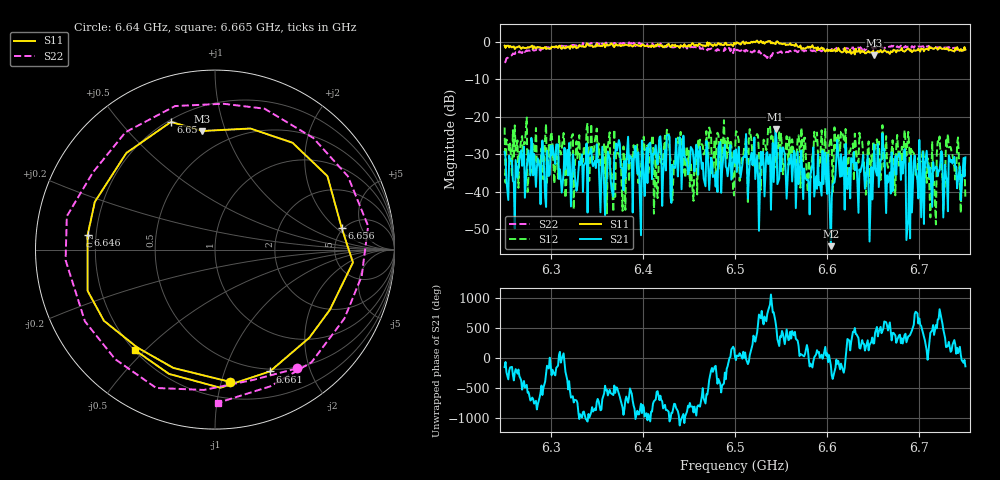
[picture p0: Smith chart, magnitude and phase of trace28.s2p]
# Hz S RI R 50
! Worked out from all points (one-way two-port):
!   401 points, 6.25 GHz to 6.75 GHz, reference 50 ohm
!   highest |S21| = -23.32 dB at 6.544 GHz (marker M1); lowest = -54.5 dB at 6.604 GHz (marker M2)
!   lowest |S11| = -3.5 dB at 6.651 GHz (marker M3), VSWR 4.96, Z = 17.7 + j41.8 ohm
!   |S11| at or under -10 dB: nowhere
!   |S22| runs from -5.6 to -0.2 dB; largest |S21 - S12| = 0.11
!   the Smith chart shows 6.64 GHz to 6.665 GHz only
!   S11 on the Smith chart (normalised r, x): 6.64 GHz: 0.33, -1.07; 6.646 GHz: 0.17, +0.05; 6.65 GHz: 0.21, +0.69; 6.656 GHz: 4.81, +2.40; 6.661 GHz: 0.47, -1.44; 6.665 GHz: 0.20, -0.47
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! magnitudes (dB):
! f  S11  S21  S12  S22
! 6.25 GHz  -1.1  -29.4  -22.9  -5.6
! 6.334 GHz  -1.3  -30.0  -31.0  -1.1
! 6.418 GHz  -0.9  -25.6  -26.2  -1.3
! 6.432 GHz  -0.8  -32.8  -42.4  -1.5
! 6.439 GHz  -1.4  -31.1  -26.6  -1.2
! 6.5 GHz  -0.5  -32.3  -29.8  -2.3
! 6.544 GHz  -0.7  -23.3  -28.4  -3.1
! 6.584 GHz  -1.0  -32.6  -29.6  -2.6
! 6.604 GHz  -2.5  -54.5  -25.6  -2.2
! 6.612 GHz  -1.7  -29.7  -24.4  -2.1
! 6.64 GHz  -2.6  -34.5  -32.9  -1.9
! 6.646 GHz  -2.9  -53.3  -37.6  -1.6
! 6.65 GHz  -2.5  -35.5  -26.6  -1.9
! 6.651 GHz  -3.5  -27.4  -29.4  -1.7
! 6.656 GHz  -2.9  -38.8  -26.7  -1.6
! 6.661 GHz  -2.6  -29.0  -31.7  -1.8
! 6.665 GHz  -2.9  -35.6  -32.4  -1.4
! 6.668 GHz  -3.3  -34.9  -32.0  -1.3
! 6.686 GHz  -2.2  -52.9  -30.4  -1.5
! 6.715 GHz  -1.9  -32.1  -38.2  -1.5
! 6.731 GHz  -1.8  -45.2  -24.6  -1.5
! 6.75 GHz  -2.2  -30.8  -42.1  -2.2
